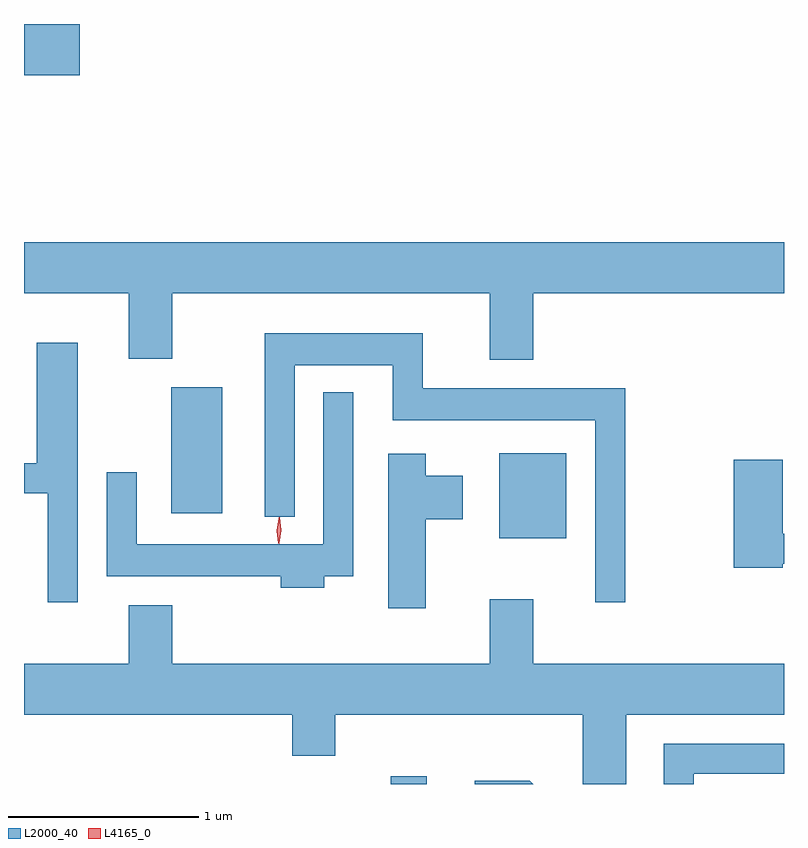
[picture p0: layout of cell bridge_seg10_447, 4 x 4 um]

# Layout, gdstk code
import gdstk
lib = gdstk.Library(unit=1e-6, precision=1e-09)
def R(c, l, rs):  # rectangles x0, y0, x1, y1
    for r in rs: c.add(gdstk.rectangle(r[:2], r[2:], *l))
def P(c, l, *ps):  # polygons
    for p in ps: c.add(gdstk.Polygon(p, *l))
L2000_40 = (2000, 40)
L4165_0 = (4165, 0)

bridge_seg10_447 = lib.new_cell('bridge_seg10_447')
R(bridge_seg10_447, L2000_40, [(1445.191,2137.972,1445.379,2138.014), (1445.761,2139.266,1446.114,2139.714), (1444.036,2139.396,1444.304,2140.059), (1443.26,2141.701,1443.554,2141.972)])
P(bridge_seg10_447, L2000_40, [(1445.939,2140.556),(1447.26,2140.556),(1447.26,2140.824),(1443.26,2140.824),(1443.26,2140.556),(1443.811,2140.556),(1443.811,2140.211),(1444.039,2140.211),(1444.039,2140.556),(1445.711,2140.556),(1445.711,2140.206),(1445.939,2140.206)],
  [(1446.424,2140.054),(1445.359,2140.054),(1445.359,2140.344),(1444.526,2140.344),(1444.526,2139.378),(1444.684,2139.378),(1444.684,2140.176),(1445.201,2140.176),(1445.201,2139.886),(1446.266,2139.886),(1446.266,2138.928),(1446.424,2138.928)],
  [(1443.544,2140.294),(1443.326,2140.294),(1443.326,2139.659),(1443.26,2139.659),(1443.26,2139.501),(1443.386,2139.501),(1443.386,2138.928),(1443.544,2138.928)],
  [(1444.839,2139.066),(1444.994,2139.066),(1444.994,2140.033),(1444.836,2140.033),(1444.836,2139.234),(1443.854,2139.234),(1443.854,2139.613),(1443.696,2139.613),(1443.696,2139.066),(1444.611,2139.066),(1444.611,2139.006),(1444.839,2139.006)],
  [(1445.374,2139.366),(1445.569,2139.366),(1445.569,2139.594),(1445.374,2139.594),(1445.374,2139.709),(1445.176,2139.709),(1445.176,2138.896),(1445.374,2138.896)],
  [(1447.254,2139.131),(1447.26,2139.131),(1447.26,2139.289),(1447.254,2139.289),(1447.254,2139.679),(1446.996,2139.679),(1446.996,2139.111),(1447.254,2139.111)],
  [(1446.429,2138.336),(1447.26,2138.336),(1447.26,2138.604),(1445.939,2138.604),(1445.939,2138.944),(1445.711,2138.944),(1445.711,2138.604),(1444.039,2138.604),(1444.039,2138.914),(1443.811,2138.914),(1443.811,2138.604),(1443.26,2138.604),(1443.26,2138.336),(1444.671,2138.336),(1444.671,2138.121),(1444.899,2138.121),(1444.899,2138.336),(1446.201,2138.336),(1446.201,2137.972),(1446.429,2137.972)],
  [(1446.784,2138.026),(1447.26,2138.026),(1447.26,2138.184),(1446.626,2138.184),(1446.626,2137.972),(1446.784,2137.972)],
  [(1445.922,2137.989),(1445.633,2137.989),(1445.633,2137.972),(1445.939,2137.972)])
P(bridge_seg10_447, L4165_0, [(1444.599,2139.24),(1444.599,2139.24),(1444.59,2139.306),(1444.6,2139.372),(1444.6,2139.373),(1444.601,2139.372),(1444.61,2139.306),(1444.6,2139.24)],
  [(1444.603,2139.237),(1444.603,2139.238),(1444.594,2139.307),(1444.604,2139.376),(1444.605,2139.376),(1444.606,2139.376),(1444.614,2139.307),(1444.604,2139.238)])

lib.write_gds('bridge_seg10_447.gds')
